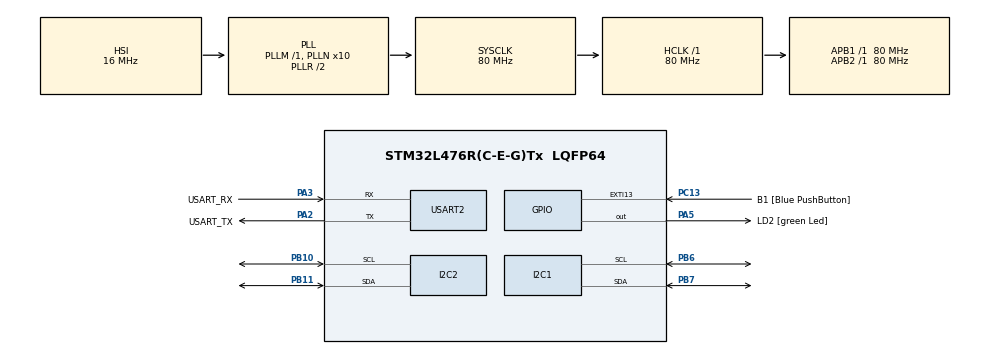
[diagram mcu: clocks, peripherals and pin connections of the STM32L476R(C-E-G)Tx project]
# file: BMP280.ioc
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I2C1.Timing=0x10D19CE4
I2C2.Timing=0x10D19CE4
Mcu.Family=STM32L4
Mcu.Name=STM32L476R(C-E-G)Tx
Mcu.Package=LQFP64
NVIC.PriorityGroup=NVIC_PRIORITYGROUP_4
PA13\ (JTMS-SWDIO).GPIO_Label=TMS
PA13\ (JTMS-SWDIO).Mode=Serial_Wire
PA13\ (JTMS-SWDIO).Signal=SYS_JTMS-SWDIO
PA14\ (JTCK-SWCLK).GPIO_Label=TCK
PA14\ (JTCK-SWCLK).Mode=Serial_Wire
PA14\ (JTCK-SWCLK).Signal=SYS_JTCK-SWCLK
PA2.GPIO_Label=USART_TX
PA2.GPIO_Mode=GPIO_MODE_AF_PP
PA2.GPIO_PuPd=GPIO_NOPULL
PA2.GPIO_Speed=GPIO_SPEED_FREQ_VERY_HIGH
PA2.Mode=Asynchronous
PA2.Signal=USART2_TX
PA3.GPIO_Label=USART_RX
PA3.GPIO_Mode=GPIO_MODE_AF_PP
PA3.GPIO_PuPd=GPIO_NOPULL
PA3.GPIO_Speed=GPIO_SPEED_FREQ_VERY_HIGH
PA3.Mode=Asynchronous
PA3.Signal=USART2_RX
PA5.GPIO_Label=LD2 [green Led]
PA5.GPIO_ModeDefaultOutputPP=GPIO_MODE_OUTPUT_PP
PA5.GPIO_PuPd=GPIO_NOPULL
PA5.GPIO_Speed=GPIO_SPEED_FREQ_LOW
PA5.Signal=GPIO_Output
PB10.Mode=I2C
PB10.Signal=I2C2_SCL
PB11.Mode=I2C
PB11.Signal=I2C2_SDA
PB3\ (JTDO-TRACESWO).GPIO_Label=SWO
PB3\ (JTDO-TRACESWO).Signal=SYS_JTDO-SWO
PB6.Mode=I2C
PB6.Signal=I2C1_SCL
PB7.Mode=I2C
PB7.Signal=I2C1_SDA
PC13.GPIO_Label=B1 [Blue PushButton]
PC13.GPIO_ModeDefaultEXTI=GPIO_MODE_IT_FALLING
PC13.GPIO_PuPd=GPIO_NOPULL
PC13.Signal=GPXTI13
PC14-OSC32_IN\ (PC14).Mode=LSE-External-Oscillator
PC14-OSC32_IN\ (PC14).Signal=RCC_OSC32_IN
PC15-OSC32_OUT\ (PC15).Mode=LSE-External-Oscillator
PC15-OSC32_OUT\ (PC15).Signal=RCC_OSC32_OUT
PH0-OSC_IN\ (PH0).Signal=RCC_OSC_IN
PH1-OSC_OUT\ (PH1).Signal=RCC_OSC_OUT
ProjectManager.HeapSize=0x200
ProjectManager.StackSize=0x400
ProjectManager.TargetToolchain=STM32CubeIDE
RCC.ADCFreq_Value=64000000
RCC.AHBFreq_Value=80000000
RCC.APB1Freq_Value=80000000
RCC.APB1TimFreq_Value=80000000
RCC.APB2Freq_Value=80000000
RCC.APB2TimFreq_Value=80000000
RCC.CortexFreq_Value=80000000
RCC.HCLKFreq_Value=80000000
RCC.HSE_VALUE=8000000
RCC.HSI_VALUE=16000000
RCC.MSI_VALUE=4000000
RCC.PLLN=10
RCC.PLLSourceVirtual=RCC_PLLSOURCE_HSI
RCC.PREFETCH_ENABLE=1
RCC.SYSCLKFreq_VALUE=80000000
RCC.SYSCLKSource=RCC_SYSCLKSOURCE_PLLCLK
RCC.USBFreq_Value=64000000
RCC.VCOOutputFreq_Value=160000000
USART2.VirtualMode-Asynchronous=VM_ASYNC
board=NUCLEO-L476RG

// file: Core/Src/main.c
/* USER CODE BEGIN Header */
/**
  ******************************************************************************
  * @file           : main.c
  * @brief          : Main program body
  ******************************************************************************
  * @attention
  *
  * Copyright (c) 2025 STMicroelectronics.
  * All rights reserved.
  *
  * This software is licensed under terms that can be found in the LICENSE file
  * in the root directory of this software component.
  * If no LICENSE file comes with this software, it is provided AS-IS.
  *
  ******************************************************************************
  */
/* USER CODE END Header */
#include "main.h"

/* USER CODE BEGIN Includes */
#include <string.h>
#include <stdio.h>
#include "bmp280.h"
#include "ssd1306.h"
#include "ssd1306_tests.h"
#include "ssd1306_fonts.h"
#include <stdbool.h>
#include "as7341.h"

/* USER CODE END Includes */

I2C_HandleTypeDef hi2c1;
I2C_HandleTypeDef hi2c2;

UART_HandleTypeDef huart2;

/* USER CODE BEGIN PV */
char msg[] = "Hello\n\r";
char recei_txt[50];
BMP280_HandleTypedef bmp280;

float pressure, temperature, humidity;

uint16_t size;
uint8_t Data[256];
uint8_t Data_OLED[15];

/* USER CODE END PV */

void SystemClock_Config(void);
static void MX_GPIO_Init(void);
static void MX_USART2_UART_Init(void);
static void MX_I2C1_Init(void);
static void MX_I2C2_Init(void);

int main(void)
{

  /* MCU Configuration--------------------------------------------------------*/

  /* Reset of all peripherals, Initializes the Flash interface and the Systick. */
  HAL_Init();

  /* Configure the system clock */
  SystemClock_Config();

  /* Initialize all configured peripherals */
  MX_GPIO_Init();
  MX_USART2_UART_Init();
  MX_I2C1_Init();
  MX_I2C2_Init();
  /* USER CODE BEGIN 2 */
  /*OLED SSD1309*/
  ssd1306_Init();
  //ssd1306_TestAll();

  /*AS7341 sensor*/
  //AS7341_Init();
  while (AS7341_Init()) {
	  size = sprintf((char *)Data, "No AS7341 found\n\r");
	  HAL_UART_Transmit(&huart2, Data, size, 1000);
	  HAL_Delay(2000);
  }
  size = sprintf((char *)Data, "Found AS7341\n\r");
  HAL_UART_Transmit(&huart2, Data, size, 1000);
  AS7341_Setup();

  /*BMP280*/
  bmp280_init_default_params(&bmp280.params);
  bmp280.addr = BMP280_I2C_ADDRESS_0;
  bmp280.i2c = &hi2c1;

  while (!bmp280_init(&bmp280, &bmp280.params)) {
  	size = sprintf((char *)Data, "BMP280 initialization failed\n\r");
  	HAL_UART_Transmit(&huart2, Data, size, 1000);
  	HAL_Delay(2000);
  }
  bool bme280p = bmp280.id == BME280_CHIP_ID;
  size = sprintf((char *)Data, "BMP280: found %s\n", bme280p ? "BME280" : "BMP280");
  HAL_UART_Transmit(&huart2, Data, size, 1000);
  /* USER CODE END 2 */

  /* Infinite loop */
  while (1)
  {

    /* USER CODE BEGIN 3 */
	HAL_Delay(100);
	while (!bmp280_read_float(&bmp280, &temperature, &pressure, &humidity)) {
		size = sprintf((char *)Data,"Temperature/pressure reading failed\n");
		HAL_UART_Transmit(&huart2, Data, size, 1000);
		HAL_Delay(2000);
	}

	size = sprintf((char *)Data,"Pressure: %f Pa, Temperature: %f C", pressure, temperature);
	HAL_UART_Transmit(&huart2, Data, size, 1000);
	if (bme280p) {
		size = sprintf((char *)Data,", Humidity: %f\n\r", humidity);
		HAL_UART_Transmit(&huart2, Data, size, 1000);
	}

	else {
		size = sprintf((char *)Data, "\n\r");
		HAL_UART_Transmit(&huart2, Data, size, 1000);
	}
	// OLED display
	ssd1306_SetCursor(5,5);
	sprintf((char *)Data_OLED,"Pres: %.2f Pa", pressure);
	ssd1306_WriteString(Data_OLED, Font_6x8, White);
	ssd1306_SetCursor(5,20);
	sprintf((char *)Data_OLED,"Temp: %.2f Pa", temperature);
	ssd1306_WriteString(Data_OLED, Font_6x8, White);

	ssd1306_UpdateScreen();
	//
	HAL_Delay(2000);
  }
  /* USER CODE END 3 */
}

void SystemClock_Config(void)
{
  RCC_OscInitTypeDef RCC_OscInitStruct = {0};
  RCC_ClkInitTypeDef RCC_ClkInitStruct = {0};

  /** Configure the main internal regulator output voltage
  */
  if (HAL_PWREx_ControlVoltageScaling(PWR_REGULATOR_VOLTAGE_SCALE1) != HAL_OK)
  {
    Error_Handler();
  }

  /** Initializes the RCC Oscillators according to the specified parameters
  * in the RCC_OscInitTypeDef structure.
  */
  RCC_OscInitStruct.OscillatorType = RCC_OSCILLATORTYPE_HSI;
  RCC_OscInitStruct.HSIState = RCC_HSI_ON;
  RCC_OscInitStruct.HSICalibrationValue = RCC_HSICALIBRATION_DEFAULT;
  RCC_OscInitStruct.PLL.PLLState = RCC_PLL_ON;
  RCC_OscInitStruct.PLL.PLLSource = RCC_PLLSOURCE_HSI;
  RCC_OscInitStruct.PLL.PLLM = 1;
  RCC_OscInitStruct.PLL.PLLN = 10;
  RCC_OscInitStruct.PLL.PLLP = RCC_PLLP_DIV7;
  RCC_OscInitStruct.PLL.PLLQ = RCC_PLLQ_DIV2;
  RCC_OscInitStruct.PLL.PLLR = RCC_PLLR_DIV2;
  if (HAL_RCC_OscConfig(&RCC_OscInitStruct) != HAL_OK)
  {
    Error_Handler();
  }

  /** Initializes the CPU, AHB and APB buses clocks
  */
  RCC_ClkInitStruct.ClockType = RCC_CLOCKTYPE_HCLK|RCC_CLOCKTYPE_SYSCLK
                              |RCC_CLOCKTYPE_PCLK1|RCC_CLOCKTYPE_PCLK2;
  RCC_ClkInitStruct.SYSCLKSource = RCC_SYSCLKSOURCE_PLLCLK;
  RCC_ClkInitStruct.AHBCLKDivider = RCC_SYSCLK_DIV1;
  RCC_ClkInitStruct.APB1CLKDivider = RCC_HCLK_DIV1;
  RCC_ClkInitStruct.APB2CLKDivider = RCC_HCLK_DIV1;

  if (HAL_RCC_ClockConfig(&RCC_ClkInitStruct, FLASH_LATENCY_4) != HAL_OK)
  {
    Error_Handler();
  }
}

static void MX_I2C1_Init(void)
{

  hi2c1.Instance = I2C1;
  hi2c1.Init.Timing = 0x10D19CE4;
  hi2c1.Init.OwnAddress1 = 0;
  hi2c1.Init.AddressingMode = I2C_ADDRESSINGMODE_7BIT;
  hi2c1.Init.DualAddressMode = I2C_DUALADDRESS_DISABLE;
  hi2c1.Init.OwnAddress2 = 0;
  hi2c1.Init.OwnAddress2Masks = I2C_OA2_NOMASK;
  hi2c1.Init.GeneralCallMode = I2C_GENERALCALL_DISABLE;
  hi2c1.Init.NoStretchMode = I2C_NOSTRETCH_DISABLE;
  if (HAL_I2C_Init(&hi2c1) != HAL_OK)
  {
    Error_Handler();
  }

  /** Configure Analogue filter
  */
  if (HAL_I2CEx_ConfigAnalogFilter(&hi2c1, I2C_ANALOGFILTER_ENABLE) != HAL_OK)
  {
    Error_Handler();
  }

  /** Configure Digital filter
  */
  if (HAL_I2CEx_ConfigDigitalFilter(&hi2c1, 0) != HAL_OK)
  {
    Error_Handler();
  }

}

static void MX_I2C2_Init(void)
{

  hi2c2.Instance = I2C2;
  hi2c2.Init.Timing = 0x10D19CE4;
  hi2c2.Init.OwnAddress1 = 0;
  hi2c2.Init.AddressingMode = I2C_ADDRESSINGMODE_7BIT;
  hi2c2.Init.DualAddressMode = I2C_DUALADDRESS_DISABLE;
  hi2c2.Init.OwnAddress2 = 0;
  hi2c2.Init.OwnAddress2Masks = I2C_OA2_NOMASK;
  hi2c2.Init.GeneralCallMode = I2C_GENERALCALL_DISABLE;
  hi2c2.Init.NoStretchMode = I2C_NOSTRETCH_DISABLE;
  if (HAL_I2C_Init(&hi2c2) != HAL_OK)
  {
    Error_Handler();
  }

  /** Configure Analogue filter
  */
  if (HAL_I2CEx_ConfigAnalogFilter(&hi2c2, I2C_ANALOGFILTER_ENABLE) != HAL_OK)
  {
    Error_Handler();
  }

  /** Configure Digital filter
  */
  if (HAL_I2CEx_ConfigDigitalFilter(&hi2c2, 0) != HAL_OK)
  {
    Error_Handler();
  }

}

static void MX_USART2_UART_Init(void)
{

  huart2.Instance = USART2;
  huart2.Init.BaudRate = 115200;
  huart2.Init.WordLength = UART_WORDLENGTH_8B;
  huart2.Init.StopBits = UART_STOPBITS_1;
  huart2.Init.Parity = UART_PARITY_NONE;
  huart2.Init.Mode = UART_MODE_TX_RX;
  huart2.Init.HwFlowCtl = UART_HWCONTROL_NONE;
  huart2.Init.OverSampling = UART_OVERSAMPLING_16;
  huart2.Init.OneBitSampling = UART_ONE_BIT_SAMPLE_DISABLE;
  huart2.AdvancedInit.AdvFeatureInit = UART_ADVFEATURE_NO_INIT;
  if (HAL_UART_Init(&huart2) != HAL_OK)
  {
    Error_Handler();
  }

}

static void MX_GPIO_Init(void)
{
  GPIO_InitTypeDef GPIO_InitStruct = {0};

  /* GPIO Ports Clock Enable */
  __HAL_RCC_GPIOC_CLK_ENABLE();
  __HAL_RCC_GPIOH_CLK_ENABLE();
  __HAL_RCC_GPIOA_CLK_ENABLE();
  __HAL_RCC_GPIOB_CLK_ENABLE();

  /*Configure GPIO pin Output Level */
  HAL_GPIO_WritePin(LD2_GPIO_Port, LD2_Pin, GPIO_PIN_RESET);

  /*Configure GPIO pin : B1_Pin */
  GPIO_InitStruct.Pin = B1_Pin;
  GPIO_InitStruct.Mode = GPIO_MODE_IT_FALLING;
  GPIO_InitStruct.Pull = GPIO_NOPULL;
  HAL_GPIO_Init(B1_GPIO_Port, &GPIO_InitStruct);

  /*Configure GPIO pin : LD2_Pin */
  GPIO_InitStruct.Pin = LD2_Pin;
  GPIO_InitStruct.Mode = GPIO_MODE_OUTPUT_PP;
  GPIO_InitStruct.Pull = GPIO_NOPULL;
  GPIO_InitStruct.Speed = GPIO_SPEED_FREQ_LOW;
  HAL_GPIO_Init(LD2_GPIO_Port, &GPIO_InitStruct);

}

void Error_Handler(void)
{
  __disable_irq();
  while (1)
  {
  }
}
